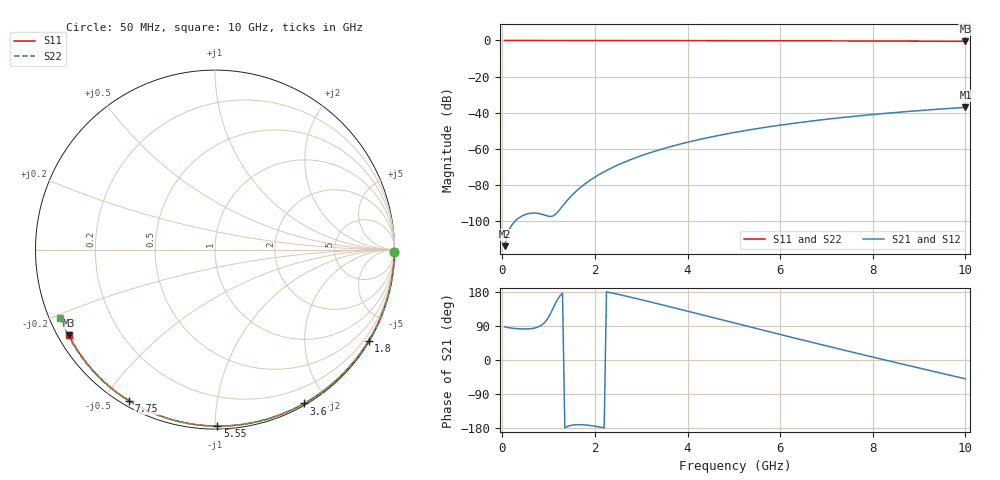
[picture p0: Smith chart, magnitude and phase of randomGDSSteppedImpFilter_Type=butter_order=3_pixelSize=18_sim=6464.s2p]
! freq	dB(S11)	phase(S11)	dB(S12)	phase(S12)
!  dB(S21)	phase(S21)	dB(S22)	phase(S22)
!S-par simulation data
#  GHz  S  DB  R 50
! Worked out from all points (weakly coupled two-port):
!   200 points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, 50 MHz to 10 GHz, reference 50 ohm
!   highest |S21| = -36.98 dB at 10 GHz (marker M1); lowest = -113.7 dB at 50 MHz (marker M2)
!   lowest |S11| = -0.5 dB at 10 GHz (marker M3), VSWR 34.59, Z = 1.55 - j13.6 ohm
!   |S11| at or under -10 dB: nowhere
!   |S22| runs from -0.5 to 0.0 dB; largest |S21 - S12| = 0
!   S11 on the Smith chart (normalised r, x): 50 MHz: open; 1.8 GHz: 0.03, -3.64; 3.6 GHz: 0.02, -1.73; 5.55 GHz: 0.02, -1.01; 7.75 GHz: 0.02, -0.58; 10 GHz: 0.03, -0.27
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0.05  -0.00 -0.9  -113.66 87.9  -113.66 87.9  -0.00 -0.9
0.45  -0.01 -7.8  -96.68 81.9  -96.68 81.9  -0.01 -8.1
0.9  -0.02 -15.5  -96.40 97.2  -96.40 97.2  -0.02 -16.2
1.3  -0.03 -22.3  -91.55 176.3  -91.55 176.3  -0.03 -23.3
1.75  -0.04 -29.9  -79.93 -171.0  -79.93 -171.0  -0.04 -31.2
1.8  -0.04 -30.7  -78.96 -171.5  -78.96 -171.5  -0.04 -32.0
1.95  -0.04 -33.2  -76.30 -173.7  -76.30 -173.7  -0.04 -34.6
2.1  -0.05 -35.7  -73.96 -176.7  -73.96 -176.7  -0.05 -37.2
2.3  -0.05 -39.0  -71.20 178.6  -71.20 178.6  -0.05 -40.7
2.5  -0.05 -42.3  -68.76 173.4  -68.76 173.4  -0.06 -44.1
2.9  -0.06 -48.8  -64.61 162.1  -64.61 162.1  -0.07 -50.8
3.4  -0.08 -56.8  -60.37 147.2  -60.37 147.2  -0.08 -59.1
3.6  -0.08 -59.9  -58.90 141.1  -58.90 141.1  -0.08 -62.4
4.3  -0.10 -70.7  -54.47 119.6  -54.47 119.6  -0.10 -73.6
5.05  -0.13 -81.9  -50.66 96.4  -50.66 96.4  -0.13 -85.2
5.55  -0.15 -89.2  -48.51 81.1  -48.51 81.1  -0.15 -92.8
6.1  -0.17 -97.0  -46.43 64.3  -46.43 64.3  -0.18 -100.9
6.7  -0.21 -105.4  -44.45 46.2  -44.45 46.2  -0.21 -109.6
7.75  -0.28 -119.6  -41.53 15.0  -41.53 15.0  -0.29 -124.5
8.35  -0.33 -127.6  -40.11 -2.5  -40.11 -2.5  -0.34 -132.9
9.2  -0.41 -138.9  -38.38 -26.9  -38.38 -26.9  -0.43 -144.8
10  -0.50 -149.5  -36.98 -49.6  -36.98 -49.6  -0.53 -156.2
